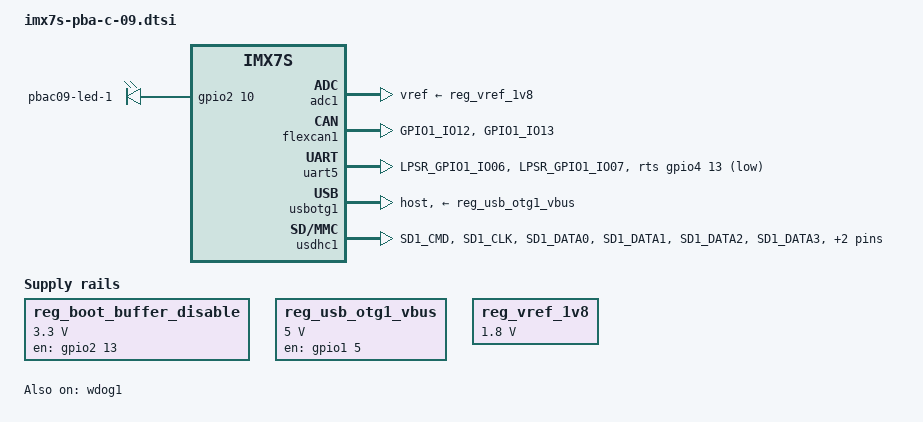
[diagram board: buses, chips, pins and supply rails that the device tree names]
// SPDX-License-Identifier: GPL-2.0-or-later
/*
 * Copyright (C) 2015-2021 PHYTEC America, LLC
 *
 * This file configures the interfaces supported by i.MX7 Solo
 * on carrier board PBA-C-09.
 */

/ {
	pbac09_leds: pbac09-leds {
		compatible = "gpio-leds";
		pinctrl-names = "default";
		pinctrl-0 = <&pinctrl_pbac09_leds>;

		pbac09-led-1 {
			gpios = <&gpio2 10 GPIO_ACTIVE_HIGH>;
			linux,default-trigger = "gpio";
			default-state = "on";
		};
	};

	reg_boot_buffer_disable: regulator-boot-buffer-disable {
		compatible = "regulator-fixed";
		pinctrl-names = "default";
		pinctrl-0 = <&pinctrl_boot_buffer>;
		regulator-name = "boot_buffer_disable";
		regulator-min-microvolt = <3300000>;
		regulator-max-microvolt = <3300000>;
		gpio = <&gpio2 13 GPIO_ACTIVE_HIGH>;
		enable-active-high;
		regulator-boot-on;
	};

	reg_usb_otg1_vbus: regulator-usb-otg1-vbus {
		compatible = "regulator-fixed";
		pinctrl-names = "default";
		pinctrl-0 = <&pinctrl_usb1_vbus>;
		regulator-name = "usb_otg1_vbus";
		regulator-min-microvolt = <5000000>;
		regulator-max-microvolt = <5000000>;
		gpio = <&gpio1 5 GPIO_ACTIVE_HIGH>;
		enable-active-high;
	};

	reg_vref_1v8: regulator-vref-1v8 {
		compatible = "regulator-fixed";
		regulator-name = "vref-1v8";
		regulator-min-microvolt = <1800000>;
		regulator-max-microvolt = <1800000>;
	};
};

&adc1 {
	vref-supply = <&reg_vref_1v8>;
	status = "okay";
};

&flexcan1 {
	pinctrl-names = "default";
	pinctrl-0 = <&pinctrl_flexcan1>;
	status = "okay";
};

&i2c4 {
	pinctrl-names = "default";
	pinctrl-0 = <&pinctrl_i2c4>;
	clock-frequency = <100000>;
	status = "disabled";
};

&uart5 {
	pinctrl-names = "default";
	pinctrl-0 = <&pinctrl_uart5>;
	pinctrl-1 = <&pinctrl_uart5_rtscts>;
	assigned-clocks = <&clks IMX7D_UART5_ROOT_SRC>;
	assigned-clock-parents = <&clks IMX7D_OSC_24M_CLK>;
	uart-has-rtscts;
	cts-gpios = <&gpio4 12 GPIO_ACTIVE_LOW>;
	rts-gpios = <&gpio4 13 GPIO_ACTIVE_LOW>;
	status = "okay";
};

&usbotg1 {
	vbus-supply = <&reg_usb_otg1_vbus>;
	dr_mode = "host";
	status = "okay";
};

&usdhc1 {
	pinctrl-names = "default";
	pinctrl-0 = <&pinctrl_usdhc1>;
	cd-gpios = <&gpio5 0 GPIO_ACTIVE_LOW>;
	no-1-8-v; /* Fixed voltage supply, doesn't support vsel */
	enable-sdio-wakeup;
	keep-power-in-suspend;
	status = "okay";
};

&wdog1 {
	pinctrl-names = "default";
	pinctrl-0 = <&pinctrl_wdog>;
	fsl,ext-reset-output;
	status = "okay";
};

&iomuxc {
	pinctrl_boot_buffer: bootbuffergrp {
		fsl,pins = <
			MX7D_PAD_EPDC_DATA13__GPIO2_IO13	0x39
		>;
	};

	pinctrl_flexcan1: flexcan1grp {
		fsl,pins = <
			MX7D_PAD_GPIO1_IO12__FLEXCAN1_RX	0x5a
			MX7D_PAD_GPIO1_IO13__FLEXCAN1_TX	0x5a
		>;
	};

	pinctrl_i2c4: i2c4grp {
		fsl,pins = <
			MX7D_PAD_I2C4_SCL__I2C4_SCL	0x4000007e
			MX7D_PAD_I2C4_SDA__I2C4_SDA	0x4000007e
		>;
	};

	pinctrl_pbac09_leds: pbac09-ledsgrp {
		fsl,pins = <
			MX7D_PAD_EPDC_DATA10__GPIO2_IO10	0x59
		>;
	};

	pinctrl_usdhc1: usdhc1grp {
		fsl,pins = <
			MX7D_PAD_SD1_CMD__SD1_CMD	0x59
			MX7D_PAD_SD1_CLK__SD1_CLK	0x19
			MX7D_PAD_SD1_DATA0__SD1_DATA0	0x59
			MX7D_PAD_SD1_DATA1__SD1_DATA1	0x59
			MX7D_PAD_SD1_DATA2__SD1_DATA2	0x59
			MX7D_PAD_SD1_DATA3__SD1_DATA3	0x59
			MX7D_PAD_SD1_CD_B__GPIO5_IO0	0x59	/* X_SD1_CD_B */
		>;
	};

	pinctrl_uart5_rtscts: uart5_rtsctsgrp {
		fsl,pins = <
			MX7D_PAD_I2C3_SDA__GPIO4_IO13	0x79	/* UART5_RTS */
			MX7D_PAD_I2C3_SCL__GPIO4_IO12	0x79	/* UART5_CTS */
		>;
	};
};

&iomuxc_lpsr {
	pinctrl_uart5: uart5grp {
		fsl,pins = <
			MX7D_PAD_LPSR_GPIO1_IO06__UART5_DCE_RX	0x79
			MX7D_PAD_LPSR_GPIO1_IO07__UART5_DCE_TX	0x79
		>;
	};

	pinctrl_usb1_vbus: usb1grp {
		fsl,pins = <
			/* X_USB_OTG1_PWR */
			MX7D_PAD_LPSR_GPIO1_IO05__GPIO1_IO5	0x14
		>;
	};

	pinctrl_wdog: wdoggrp {
		fsl,pins = <
			MX7D_PAD_LPSR_GPIO1_IO00__WDOG1_WDOG_B	0x74
		>;
	};
};
